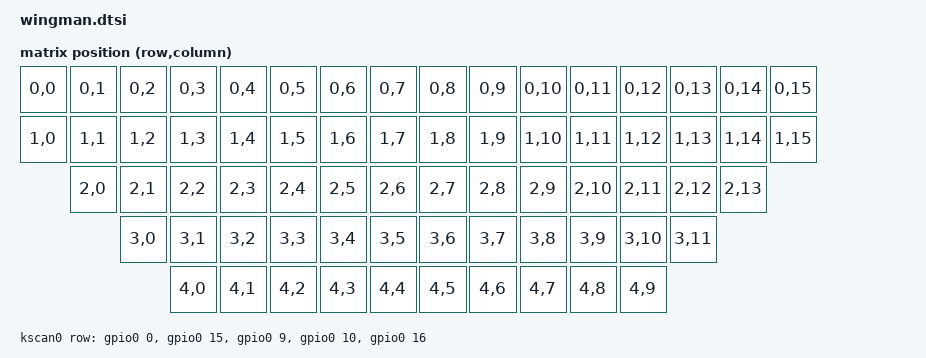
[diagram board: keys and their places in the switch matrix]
#include <dt-bindings/zmk/matrix_transform.h>

/ {
    chosen {
        zmk,kscan = &kscan0;
        zmk,matrix-transform = &default_transform;
        zmk,backlight = &backlight;
    };

    backlight: backlight0 {
        compatible = "zmk,led-sk6812";
        pin = <&gpio0 20 GPIO_ACTIVE_HIGH>;
        compatible = "zmk,ws2812";
        gpios = <&gpio0 20 GPIO_ACTIVE_HIGH>;
        label = "backlight";
        chain-length = <34>;
        #address-cells = <1>;
        #size-cells = <0>;

        led@0 { reg = <0>; };
        led@1 { reg = <1>; };
        led@2 { reg = <2>; };
        led@3 { reg = <3>; };
        led@4 { reg = <4>; };
        led@5 { reg = <5>; };
        led@6 { reg = <6>; };
        led@7 { reg = <7>; };
        led@8 { reg = <8>; };
        led@9 { reg = <9>; };
        led@10 { reg = <10>; };
        led@11 { reg = <11>; };
        led@12 { reg = <12>; };
        led@13 { reg = <13>; };
        led@14 { reg = <14>; };
        led@15 { reg = <15>; };
        led@16 { reg = <16>; };
        led@17 { reg = <17>; };
        led@18 { reg = <18>; };
        led@19 { reg = <19>; };
        led@20 { reg = <20>; };
        led@21 { reg = <21>; };
        led@22 { reg = <22>; };
        led@23 { reg = <23>; };
        led@24 { reg = <24>; };
        led@25 { reg = <25>; };
        led@26 { reg = <26>; };
        led@27 { reg = <27>; };
        led@28 { reg = <28>; };
        led@29 { reg = <29>; };
        led@30 { reg = <30>; };
        led@31 { reg = <31>; };
        led@32 { reg = <32>; };
        led@33 { reg = <33>; };
    };

    default_transform: keymap_transform_0 {
        compatible = "zmk,matrix-transform";
        columns = <16>;
        rows = <5>;
        map = <
            RC(0, 0) RC(0, 1) RC(0, 2) RC(0, 3) RC(0, 4) RC(0, 5) RC(0, 6) RC(0, 7)  RC(0, 8) RC(0, 9) RC(0, 10) RC(0, 11) RC(0, 12) RC(0, 13) RC(0, 14) RC(0, 15)
            RC(1, 0) RC(1, 1) RC(1, 2) RC(1, 3) RC(1, 4) RC(1, 5) RC(1, 6) RC(1, 7)  RC(1, 8) RC(1, 9) RC(1, 10) RC(1, 11) RC(1, 12) RC(1, 13) RC(1, 14) RC(1, 15)
                     RC(2, 0) RC(2, 1) RC(2, 2) RC(2, 3) RC(2, 4) RC(2, 5) RC(2, 6)  RC(2, 7) RC(2, 8) RC(2,  9) RC(2, 10) RC(2, 11) RC(2, 12) RC(2, 13)
                              RC(3, 0) RC(3, 1) RC(3, 2) RC(3, 3) RC(3, 4) RC(3, 5)  RC(3, 6) RC(3, 7) RC(3,  8) RC(3,  9) RC(3, 10) RC(3, 11)
                                       RC(4, 0) RC(4, 1) RC(4, 2) RC(4, 3) RC(4, 4)  RC(4, 5) RC(4, 6) RC(4,  7) RC(4,  8) RC(4, 9)
        >;
    };

    kscan0: kscan {
        compatible = "zmk,kscan-gpio-matrix";
        wakeup-source;
        diode-direction = "col2row";
        row-gpios = <&gpio0 0  (GPIO_ACTIVE_HIGH | GPIO_PULL_DOWN)>,
                    <&gpio0 15 (GPIO_ACTIVE_HIGH | GPIO_PULL_DOWN)>,
                    <&gpio0 9  (GPIO_ACTIVE_HIGH | GPIO_PULL_DOWN)>,
                    <&gpio0 10 (GPIO_ACTIVE_HIGH | GPIO_PULL_DOWN)>,
                    <&gpio0 16 (GPIO_ACTIVE_HIGH | GPIO_PULL_DOWN)>;
    };

};
